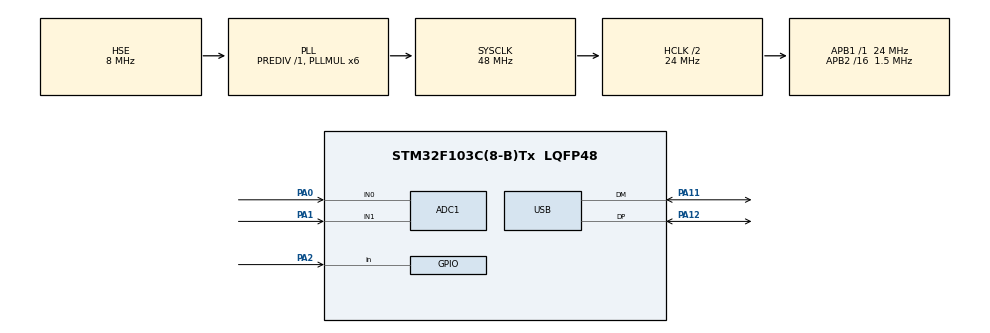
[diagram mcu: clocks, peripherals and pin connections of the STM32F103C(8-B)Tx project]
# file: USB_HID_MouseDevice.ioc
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ADC1.Channel-0\#ChannelRegularConversion=ADC_CHANNEL_0
ADC1.Channel-1\#ChannelRegularConversion=ADC_CHANNEL_1
ADC1.ContinuousConvMode=ENABLE
ADC1.EnableAnalogWatchDog=true
ADC1.NbrOfConversion=2
ADC1.NbrOfConversionFlag=1
ADC1.Rank-0\#ChannelRegularConversion=1
ADC1.Rank-1\#ChannelRegularConversion=2
ADC1.SamplingTime-0\#ChannelRegularConversion=ADC_SAMPLETIME_41CYCLES_5
ADC1.SamplingTime-1\#ChannelRegularConversion=ADC_SAMPLETIME_41CYCLES_5
ADC1.master=1
Dma.ADC1.0.Direction=DMA_PERIPH_TO_MEMORY
Dma.ADC1.0.Instance=DMA1_Channel1
Dma.ADC1.0.MemDataAlignment=DMA_MDATAALIGN_WORD
Dma.ADC1.0.MemInc=DMA_MINC_ENABLE
Dma.ADC1.0.Mode=DMA_CIRCULAR
Dma.ADC1.0.PeriphDataAlignment=DMA_PDATAALIGN_WORD
Dma.ADC1.0.PeriphInc=DMA_PINC_DISABLE
Dma.ADC1.0.Priority=DMA_PRIORITY_LOW
Dma.Request0=ADC1
Mcu.Family=STM32F1
Mcu.Name=STM32F103C(8-B)Tx
Mcu.Package=LQFP48
NVIC.DMA1_Channel1_IRQn=true\:0\:0\:false\:false\:true\:false\:true\:true
NVIC.PriorityGroup=NVIC_PRIORITYGROUP_4
NVIC.USB_LP_CAN1_RX0_IRQn=true\:0\:0\:false\:false\:true\:false\:true\:true
PA0-WKUP.Signal=ADCx_IN0
PA1.Signal=ADCx_IN1
PA11.Mode=Device
PA11.Signal=USB_DM
PA12.Mode=Device
PA12.Signal=USB_DP
PA13.Mode=Serial_Wire
PA13.Signal=SYS_JTMS-SWDIO
PA14.Mode=Serial_Wire
PA14.Signal=SYS_JTCK-SWCLK
PA2.GPIO_PuPd=GPIO_PULLUP
PA2.Signal=GPIO_Input
PD0-OSC_IN.Mode=HSE-External-Oscillator
PD0-OSC_IN.Signal=RCC_OSC_IN
PD1-OSC_OUT.Mode=HSE-External-Oscillator
PD1-OSC_OUT.Signal=RCC_OSC_OUT
ProjectManager.HeapSize=0x200
ProjectManager.StackSize=0x400
ProjectManager.TargetToolchain=STM32CubeIDE
RCC.ADCPresc=RCC_ADCPCLK2_DIV8
RCC.AHBCLKDivider=RCC_SYSCLK_DIV2
RCC.AHBFreq_Value=24000000
RCC.APB1Freq_Value=24000000
RCC.APB1TimFreq_Value=24000000
RCC.APB2CLKDivider=RCC_HCLK_DIV16
RCC.APB2Freq_Value=1500000
RCC.APB2TimFreq_Value=3000000
RCC.HCLKFreq_Value=24000000
RCC.PLLMUL=RCC_PLL_MUL6
RCC.SYSCLKFreq_VALUE=48000000
RCC.SYSCLKSource=RCC_SYSCLKSOURCE_PLLCLK
RCC.USBFreq_Value=48000000
SH.ADCx_IN0.0=ADC1_IN0,IN0
SH.ADCx_IN1.0=ADC1_IN1,IN1
USB_DEVICE.CLASS_NAME_FS=HID
USB_DEVICE.VirtualMode=Hid
USB_DEVICE.VirtualModeFS=Hid_FS
VP_USB_DEVICE_VS_USB_DEVICE_HID_FS.Mode=HID_FS
board=custom

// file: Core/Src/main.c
/* USER CODE BEGIN Header */
/**
  ******************************************************************************
  * @file           : main.c
  * @brief          : Main program body
  ******************************************************************************
  * @attention
  *
  * Copyright (c) 2025 STMicroelectronics.
  * All rights reserved.
  *
  * This software is licensed under terms that can be found in the LICENSE file
  * in the root directory of this software component.
  * If no LICENSE file comes with this software, it is provided AS-IS.
  *
  ******************************************************************************
  */
/* USER CODE END Header */
#include "main.h"
#include "usb_device.h"

/* USER CODE BEGIN Includes */
#include "usbd_hid.h"
#include "math.h"
/* USER CODE END Includes */

ADC_HandleTypeDef hadc1;
DMA_HandleTypeDef hdma_adc1;

/* USER CODE BEGIN PV */
uint8_t buffer[4];
uint32_t adc_values[2];
extern USBD_HandleTypeDef hUsbDeviceFS;
/* USER CODE END PV */

void SystemClock_Config(void);
static void MX_GPIO_Init(void);
static void MX_DMA_Init(void);
static void MX_ADC1_Init(void);
/* USER CODE BEGIN PFP */
float normalize(uint32_t input, uint32_t min, uint32_t max);
int8_t power_map(int32_t input, int32_t in_min, int32_t in_max, int32_t out_extreme);
/* USER CODE END PFP */

/* USER CODE BEGIN 0 */

int8_t x,y;
uint8_t pressed=0;

/* USER CODE END 0 */

int main(void)
{

  /* MCU Configuration--------------------------------------------------------*/

  /* Reset of all peripherals, Initializes the Flash interface and the Systick. */
  HAL_Init();

  /* Configure the system clock */
  SystemClock_Config();

  /* Initialize all configured peripherals */
  MX_GPIO_Init();
  MX_DMA_Init();
  MX_USB_DEVICE_Init();
  MX_ADC1_Init();
  /* USER CODE BEGIN 2 */
  HAL_ADC_Start_DMA(&hadc1, adc_values, 2);
  /* USER CODE END 2 */

  /* Infinite loop */
  /* USER CODE BEGIN WHILE */
  while (1)
  {

	  	 x=power_map(adc_values[0], 0, 4040, 10);
	  	 y=power_map(adc_values[1], 0, 4040, 10);
	  	 pressed = (HAL_GPIO_ReadPin(GPIOA, GPIO_PIN_2)==GPIO_PIN_SET)?0:1;
	  	 if(pressed){
	  		 buffer[0]=(1<<0);
	  	 }
	  	 else {
	  		 buffer[0]=0;
	  	 }
	  	 buffer[1]= x;
	  	 buffer[2]= y;
	  	 USBD_HID_SendReport(&hUsbDeviceFS,  buffer, 4);
	  	 HAL_Delay(10);
    /* USER CODE END WHILE */

  }
}

void SystemClock_Config(void)
{
  RCC_OscInitTypeDef RCC_OscInitStruct = {0};
  RCC_ClkInitTypeDef RCC_ClkInitStruct = {0};
  RCC_PeriphCLKInitTypeDef PeriphClkInit = {0};

  /** Initializes the RCC Oscillators according to the specified parameters
  * in the RCC_OscInitTypeDef structure.
  */
  RCC_OscInitStruct.OscillatorType = RCC_OSCILLATORTYPE_HSE;
  RCC_OscInitStruct.HSEState = RCC_HSE_ON;
  RCC_OscInitStruct.HSEPredivValue = RCC_HSE_PREDIV_DIV1;
  RCC_OscInitStruct.HSIState = RCC_HSI_ON;
  RCC_OscInitStruct.PLL.PLLState = RCC_PLL_ON;
  RCC_OscInitStruct.PLL.PLLSource = RCC_PLLSOURCE_HSE;
  RCC_OscInitStruct.PLL.PLLMUL = RCC_PLL_MUL6;
  if (HAL_RCC_OscConfig(&RCC_OscInitStruct) != HAL_OK)
  {
    Error_Handler();
  }

  /** Initializes the CPU, AHB and APB buses clocks
  */
  RCC_ClkInitStruct.ClockType = RCC_CLOCKTYPE_HCLK|RCC_CLOCKTYPE_SYSCLK
                              |RCC_CLOCKTYPE_PCLK1|RCC_CLOCKTYPE_PCLK2;
  RCC_ClkInitStruct.SYSCLKSource = RCC_SYSCLKSOURCE_PLLCLK;
  RCC_ClkInitStruct.AHBCLKDivider = RCC_SYSCLK_DIV2;
  RCC_ClkInitStruct.APB1CLKDivider = RCC_HCLK_DIV1;
  RCC_ClkInitStruct.APB2CLKDivider = RCC_HCLK_DIV16;

  if (HAL_RCC_ClockConfig(&RCC_ClkInitStruct, FLASH_LATENCY_1) != HAL_OK)
  {
    Error_Handler();
  }
  PeriphClkInit.PeriphClockSelection = RCC_PERIPHCLK_ADC|RCC_PERIPHCLK_USB;
  PeriphClkInit.AdcClockSelection = RCC_ADCPCLK2_DIV8;
  PeriphClkInit.UsbClockSelection = RCC_USBCLKSOURCE_PLL;
  if (HAL_RCCEx_PeriphCLKConfig(&PeriphClkInit) != HAL_OK)
  {
    Error_Handler();
  }
}

static void MX_ADC1_Init(void)
{

  ADC_AnalogWDGConfTypeDef AnalogWDGConfig = {0};
  ADC_ChannelConfTypeDef sConfig = {0};

  /** Common config
  */
  hadc1.Instance = ADC1;
  hadc1.Init.ScanConvMode = ADC_SCAN_ENABLE;
  hadc1.Init.ContinuousConvMode = ENABLE;
  hadc1.Init.DiscontinuousConvMode = DISABLE;
  hadc1.Init.ExternalTrigConv = ADC_SOFTWARE_START;
  hadc1.Init.DataAlign = ADC_DATAALIGN_RIGHT;
  hadc1.Init.NbrOfConversion = 2;
  if (HAL_ADC_Init(&hadc1) != HAL_OK)
  {
    Error_Handler();
  }

  /** Configure Analog WatchDog 1
  */
  AnalogWDGConfig.WatchdogMode = ADC_ANALOGWATCHDOG_SINGLE_REG;
  AnalogWDGConfig.HighThreshold = 0;
  AnalogWDGConfig.LowThreshold = 0;
  AnalogWDGConfig.Channel = ADC_CHANNEL_0;
  AnalogWDGConfig.ITMode = DISABLE;
  if (HAL_ADC_AnalogWDGConfig(&hadc1, &AnalogWDGConfig) != HAL_OK)
  {
    Error_Handler();
  }

  /** Configure Regular Channel
  */
  sConfig.Channel = ADC_CHANNEL_0;
  sConfig.Rank = ADC_REGULAR_RANK_1;
  sConfig.SamplingTime = ADC_SAMPLETIME_41CYCLES_5;
  if (HAL_ADC_ConfigChannel(&hadc1, &sConfig) != HAL_OK)
  {
    Error_Handler();
  }

  /** Configure Regular Channel
  */
  sConfig.Channel = ADC_CHANNEL_1;
  sConfig.Rank = ADC_REGULAR_RANK_2;
  if (HAL_ADC_ConfigChannel(&hadc1, &sConfig) != HAL_OK)
  {
    Error_Handler();
  }

}

static void MX_DMA_Init(void)
{

  /* DMA controller clock enable */
  __HAL_RCC_DMA1_CLK_ENABLE();

  /* DMA interrupt init */
  /* DMA1_Channel1_IRQn interrupt configuration */
  HAL_NVIC_SetPriority(DMA1_Channel1_IRQn, 0, 0);
  HAL_NVIC_EnableIRQ(DMA1_Channel1_IRQn);

}

static void MX_GPIO_Init(void)
{
  GPIO_InitTypeDef GPIO_InitStruct = {0};

  /* GPIO Ports Clock Enable */
  __HAL_RCC_GPIOD_CLK_ENABLE();
  __HAL_RCC_GPIOA_CLK_ENABLE();

  /*Configure GPIO pin : PA2 */
  GPIO_InitStruct.Pin = GPIO_PIN_2;
  GPIO_InitStruct.Mode = GPIO_MODE_INPUT;
  GPIO_InitStruct.Pull = GPIO_PULLUP;
  HAL_GPIO_Init(GPIOA, &GPIO_InitStruct);

}

/* USER CODE BEGIN 4 */
float normalize(uint32_t input, uint32_t min, uint32_t max){
	return (2*(float)(input-min)/(max-min))-1;
}

int8_t power_map(int32_t input, int32_t in_min, int32_t in_max, int32_t out_extreme) {
    float normalized = normalize(input, in_min, in_max);
    int sign=1;
    if (normalized<0){
    	sign=-1;
    }
    return (int8_t)sign*out_extreme*pow(fabs(normalized),1);
}
/* USER CODE END 4 */

void Error_Handler(void)
{
  __disable_irq();
  while (1)
  {
  }
}
